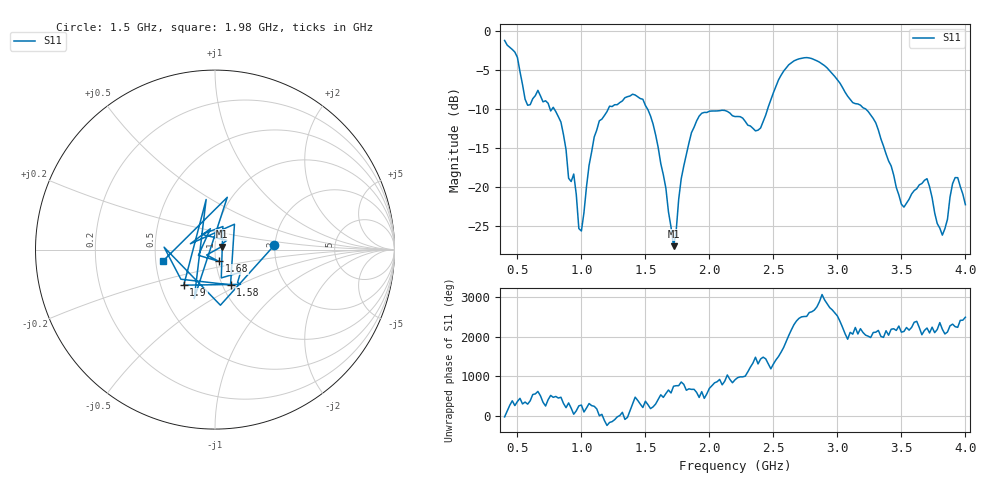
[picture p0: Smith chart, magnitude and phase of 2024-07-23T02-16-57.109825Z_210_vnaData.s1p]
!Created with skrf (http://scikit-rf.org).
# Hz S RI R 50.0
!freq ReS11 ImS11
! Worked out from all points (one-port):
!   181 points, 400 MHz to 4 GHz, reference 50 ohm
!   lowest |S11| = -27.6 dB at 1.72 GHz (marker M1), VSWR 1.09, Z = 53.9 + j1.85 ohm
!   |S11| at or under -10 dB: 786.4 MHz to 1.211 GHz (424.5 MHz wide, 42.5 % of centre); 1.515 GHz to 2.456 GHz (940.7 MHz wide, 47.4 % of centre); 3.217 GHz to end of sweep (the widest 3 of 4)
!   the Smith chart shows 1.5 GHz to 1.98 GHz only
!   S11 on the Smith chart (normalised r, x): 1.5 GHz: 1.98, +0.11; 1.58 GHz: 1.09, -0.45; 1.68 GHz: 1.04, -0.14; 1.9 GHz: 0.66, -0.28; 1.98 GHz: 0.54, -0.08
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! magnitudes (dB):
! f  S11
! 400 MHz  -1.3
! 500 MHz  -3.4
! 580 MHz  -9.6
! 660 MHz  -7.7
! 860 MHz  -13.3
! 900 MHz  -18.9
! 1 GHz  -25.7
! 1.1 GHz  -13.6
! 1.3 GHz  -9.2
! 1.5 GHz  -9.6
! 1.58 GHz  -13.4
! 1.68 GHz  -23.2
! 1.72 GHz  -27.6
! 1.76 GHz  -21.6
! 1.9 GHz  -11.6
! 1.98 GHz  -10.5
! 2.2 GHz  -11.0
! 2.4 GHz  -12.5
! 2.66 GHz  -3.9
! 2.86 GHz  -4.0
! 3.1 GHz  -8.8
! 3.28 GHz  -11.3
! 3.5 GHz  -22.3
! 3.56 GHz  -21.6
! 3.7 GHz  -19.0
! 3.82 GHz  -26.2
! 3.92 GHz  -18.8
! 4 GHz  -22.3
